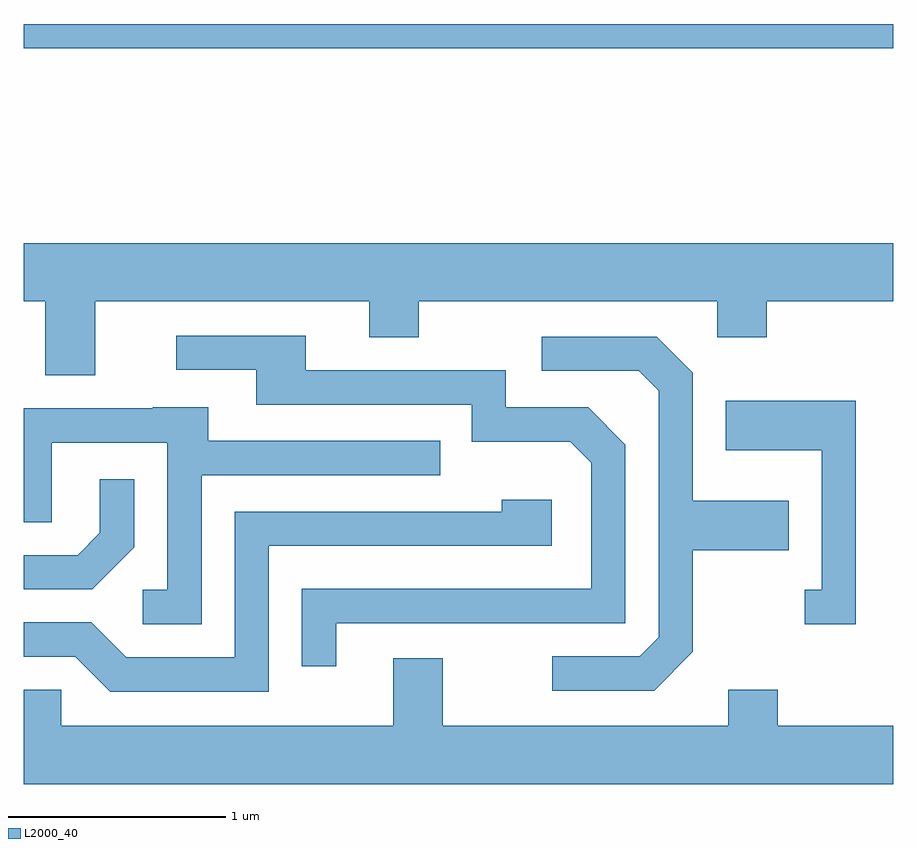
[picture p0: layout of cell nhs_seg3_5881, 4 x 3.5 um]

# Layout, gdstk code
import gdstk
lib = gdstk.Library(unit=1e-6, precision=1e-09)
def R(c, l, rs):  # rectangles x0, y0, x1, y1
    for r in rs: c.add(gdstk.rectangle(r[:2], r[2:], *l))
def P(c, l, *ps):  # polygons
    for p in ps: c.add(gdstk.Polygon(p, *l))
L2000_40 = (2000, 40)

nhs_seg3_5881 = lib.new_cell('nhs_seg3_5881')
R(nhs_seg3_5881, L2000_40, [(357.611,1193.781,361.611,1193.892)])
P(nhs_seg3_5881, L2000_40, [(357.939,1192.616),(359.201,1192.616),(359.201,1192.451),(359.429,1192.451),(359.429,1192.616),(360.801,1192.616),(360.801,1192.451),(361.029,1192.451),(361.029,1192.616),(361.611,1192.616),(361.611,1192.884),(357.611,1192.884),(357.611,1192.616),(357.711,1192.616),(357.711,1192.276),(357.939,1192.276)],
  [(359.049,1191.136),(360.379,1191.136),(360.379,1191.957),(360.207,1192.129),(359.829,1192.129),(359.829,1192.299),(358.909,1192.299),(358.909,1192.459),(358.313,1192.459),(358.313,1192.301),(358.681,1192.301),(358.681,1192.141),(359.671,1192.141),(359.671,1191.971),(360.124,1191.971),(360.221,1191.874),(360.221,1191.294),(358.891,1191.294),(358.891,1190.938),(359.049,1190.938)],
  [(360.689,1191.004),(360.689,1191.471),(361.129,1191.471),(361.129,1191.699),(360.689,1191.699),(360.689,1192.287),(360.522,1192.454),(359.993,1192.454),(359.993,1192.296),(360.439,1192.296),(360.531,1192.204),(360.531,1191.072),(360.444,1190.984),(360.043,1190.984),(360.043,1190.826),(360.512,1190.826)],
  [(361.439,1192.159),(360.841,1192.159),(360.841,1191.931),(361.281,1191.931),(361.281,1191.289),(361.203,1191.289),(361.203,1191.131),(361.439,1191.131)],
  [(358.429,1191.816),(359.528,1191.816),(359.528,1191.974),(358.459,1191.974),(358.459,1192.129),(358.205,1192.129),(358.205,1192.124),(357.611,1192.124),(357.611,1191.601),(357.739,1191.601),(357.739,1191.966),(358.271,1191.966),(358.271,1191.289),(358.158,1191.289),(358.158,1191.131),(358.429,1191.131)],
  [(358.119,1191.484),(358.119,1191.798),(357.961,1191.798),(357.961,1191.552),(357.859,1191.449),(357.611,1191.449),(357.611,1191.291),(357.927,1191.291)],
  [(358.739,1191.491),(360.039,1191.491),(360.039,1191.704),(359.811,1191.704),(359.811,1191.649),(358.581,1191.649),(358.581,1190.979),(358.082,1190.979),(357.922,1191.139),(357.611,1191.139),(357.611,1190.981),(357.849,1190.981),(358.009,1190.821),(358.739,1190.821)],
  [(361.611,1190.664),(361.079,1190.664),(361.079,1190.829),(360.851,1190.829),(360.851,1190.664),(359.539,1190.664),(359.539,1190.974),(359.311,1190.974),(359.311,1190.664),(357.784,1190.664),(357.784,1190.829),(357.611,1190.829),(357.611,1190.396),(361.611,1190.396)])

lib.write_gds('nhs_seg3_5881.gds')
